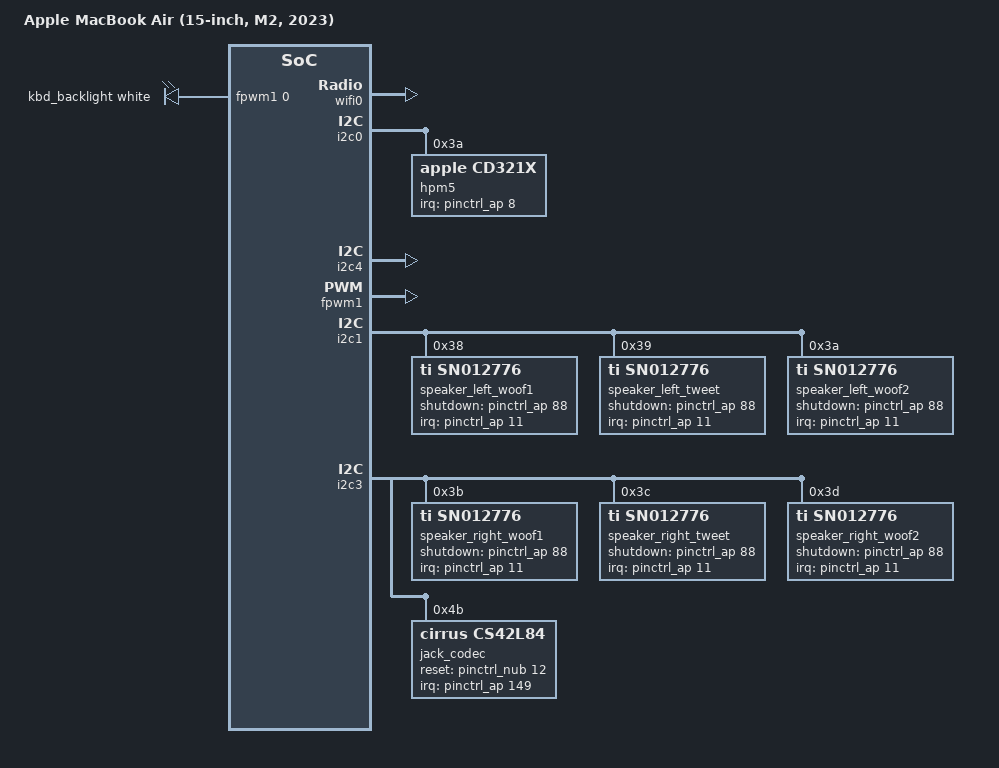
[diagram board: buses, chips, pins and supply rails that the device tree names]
// SPDX-License-Identifier: GPL-2.0+ OR MIT
/*
 * Apple MacBook Air (15-inch, M2, 2023)
 *
 * target-type: J415
 *
 * Copyright The Asahi Linux Contributors
 */

/dts-v1/;

#include "t8112.dtsi"
#include "t8112-jxxx.dtsi"
#include <dt-bindings/leds/common.h>

/ {
	compatible = "apple,j415", "apple,t8112", "apple,arm-platform";
	model = "Apple MacBook Air (15-inch, M2, 2023)";
	chassis-type = "laptop";

	aliases {
		bluetooth0 = &bluetooth0;
		wifi0 = &wifi0;
	};

	led-controller {
		compatible = "pwm-leds";
		led-0 {
			pwms = <&fpwm1 0 40000>;
			label = "kbd_backlight";
			function = LED_FUNCTION_KBD_BACKLIGHT;
			color = <LED_COLOR_ID_WHITE>;
			max-brightness = <255>;
			default-state = "keep";
		};
	};
};

/*
 * Force the bus number assignments so that we can declare some of the
 * on-board devices and properties that are populated by the bootloader
 * (such as MAC addresses).
 */
&port00 {
	bus-range = <1 1>;
	wifi0: wifi@0,0 {
		compatible = "pci14e4,4433";
		reg = <0x10000 0x0 0x0 0x0 0x0>;
		/* To be filled by the loader */
		local-mac-address = [00 10 18 00 00 10];
		apple,antenna-sku = "XX";
		brcm,board-type = "apple,snake";
	};

	bluetooth0: bluetooth@0,1 {
		compatible = "pci14e4,5f71";
		reg = <0x10100 0x0 0x0 0x0 0x0>;
		/* To be filled by the loader */
		local-bd-address = [00 00 00 00 00 00];
		brcm,board-type = "apple,snake";
	};
};

/*
 * Provide labels for the USB type C ports.
 */

&typec0 {
	label = "USB-C Left-back";
};

&typec1 {
	label = "USB-C Left-front";
};

&i2c0 {
	/* MagSafe port */
	hpm5: usb-pd@3a {
		compatible = "apple,cd321x";
		reg = <0x3a>;
		interrupt-parent = <&pinctrl_ap>;
		interrupts = <8 IRQ_TYPE_LEVEL_LOW>;
		interrupt-names = "irq";
	};
};

&i2c4 {
	status = "okay";
};

&fpwm1 {
	status = "okay";
};

/* Audio codecs */
&i2c1 {
	status = "okay";

	speaker_left_woof1: codec@38 {
		compatible = "ti,sn012776";
		reg = <0x38>;
		interrupts-extended = <&pinctrl_ap 11 IRQ_TYPE_LEVEL_LOW>;
		shutdown-gpios = <&pinctrl_ap 88 GPIO_ACTIVE_HIGH>;
		#sound-dai-cells = <0>;
		sound-name-prefix = "Left Woofer 1";
		ti,imon-slot-no = <0>;
		ti,vmon-slot-no = <2>;
	};

	speaker_left_tweet: codec@39 {
		compatible = "ti,sn012776";
		reg = <0x39>;
		interrupts-extended = <&pinctrl_ap 11 IRQ_TYPE_LEVEL_LOW>;
		shutdown-gpios = <&pinctrl_ap 88 GPIO_ACTIVE_HIGH>;
		#sound-dai-cells = <0>;
		sound-name-prefix = "Left Tweeter";
		ti,imon-slot-no = <8>;
		ti,vmon-slot-no = <10>;
	};

	speaker_left_woof2: codec@3a {
		compatible = "ti,sn012776";
		reg = <0x3a>;
		interrupts-extended = <&pinctrl_ap 11 IRQ_TYPE_LEVEL_LOW>;
		shutdown-gpios = <&pinctrl_ap 88 GPIO_ACTIVE_HIGH>;
		#sound-dai-cells = <0>;
		sound-name-prefix = "Left Woofer 2";
		ti,imon-slot-no = <16>;
		ti,vmon-slot-no = <18>;
	};
};

&i2c3 {
	status = "okay";

	speaker_right_woof1: codec@3b {
		compatible = "ti,sn012776";
		reg = <0x3b>;
		interrupts-extended = <&pinctrl_ap 11 IRQ_TYPE_LEVEL_LOW>;
		shutdown-gpios = <&pinctrl_ap 88 GPIO_ACTIVE_HIGH>;
		#sound-dai-cells = <0>;
		sound-name-prefix = "Right Woofer 1";
		ti,imon-slot-no = <4>;
		ti,vmon-slot-no = <6>;
	};

	speaker_right_tweet: codec@3c {
		compatible = "ti,sn012776";
		reg = <0x3c>;
		interrupts-extended = <&pinctrl_ap 11 IRQ_TYPE_LEVEL_LOW>;
		shutdown-gpios = <&pinctrl_ap 88 GPIO_ACTIVE_HIGH>;
		#sound-dai-cells = <0>;
		sound-name-prefix = "Right Tweet";
		ti,imon-slot-no = <12>;
		ti,vmon-slot-no = <14>;
	};

	speaker_right_woof2: codec@3d {
		compatible = "ti,sn012776";
		reg = <0x3d>;
		interrupts-extended = <&pinctrl_ap 11 IRQ_TYPE_LEVEL_LOW>;
		shutdown-gpios = <&pinctrl_ap 88 GPIO_ACTIVE_HIGH>;
		#sound-dai-cells = <0>;
		sound-name-prefix = "Right Woofer 2";
		ti,imon-slot-no = <20>;
		ti,vmon-slot-no = <22>;
	};

	jack_codec: codec@4b {
		compatible = "cirrus,cs42l84";
		reg = <0x4b>;
		interrupts-extended = <&pinctrl_ap 149 IRQ_TYPE_LEVEL_LOW>;
		reset-gpios = <&pinctrl_nub 12 GPIO_ACTIVE_HIGH>;
		#sound-dai-cells = <0>;
		sound-name-prefix = "Jack";
	};
};

/ {
	sound: sound {
		compatible = "apple,j415-macaudio";
		model = "MacBook Air J415";

		#address-cells = <1>;
		#size-cells = <0>;

		dai-link@0 {
			reg = <0>;

			dai-tdm-idle-mode-0 = "zero";
			dai-tdm-idle-mode-3 = "zero";
			dai-tdm-slot-tx-idle-mask-0 = <0xf0f0f0>;
			dai-tdm-slot-tx-idle-mask-3 = <0x0f0f0f>;

			link-name = "Speakers";

			codec {
				sound-dai = <&speaker_left_woof1>,
					    <&speaker_left_tweet>,
					    <&speaker_left_woof2>,
					    <&speaker_right_woof1>,
					    <&speaker_right_tweet>,
					    <&speaker_right_woof2>;
			};

			cpu {
				sound-dai = <&mca 0>, <&mca 1>;
			};
		};

		dai-link@1 {
			reg = <1>;

			link-name = "Headphone Jack";

			codec {
				sound-dai = <&jack_codec>;
			};

			cpu {
				sound-dai = <&mca 2>;
			};
		};
	};
};

#include "hwmon-laptop.dtsi"
